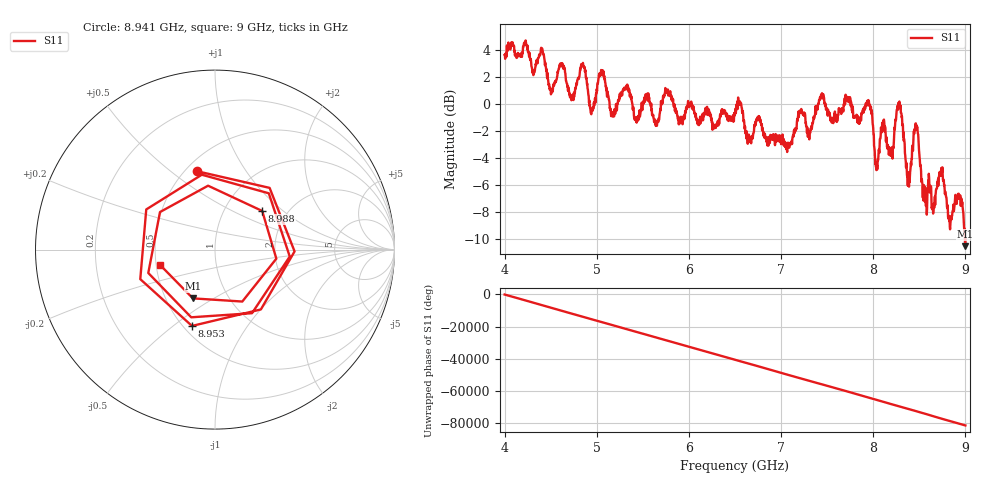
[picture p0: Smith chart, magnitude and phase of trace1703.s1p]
! Created with skrf 1.8.0 (http://scikit-rf.org).
# Hz S RI R 50.0
!freq ReS11 ImS11
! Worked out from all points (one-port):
!   1601 points, 4 GHz to 9 GHz, reference 50 ohm
!   lowest |S11| = -10.5 dB at 8.997 GHz (marker M1), VSWR 1.85, Z = 34.1 - j20.3 ohm
!   |S11| at or under -10 dB: 8.995091 GHz to 8.999936 GHz (4.845 MHz wide, 0.0538 % of centre)
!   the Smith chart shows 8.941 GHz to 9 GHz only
!   S11 on the Smith chart (normalised r, x): 8.941 GHz: 0.57, +0.62; 8.953 GHz: 0.55, -0.59; 8.988 GHz: 1.50, +0.73; 9 GHz: 0.53, -0.10
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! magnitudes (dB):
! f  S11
! 4 GHz  3.6
! 4.406 GHz  4.1
! 4.512 GHz  0.9
! 4.625 GHz  3.0
! 4.731 GHz  0.4
! 4.853 GHz  2.9
! 4.941 GHz  -0.8
! 5.05 GHz  2.4
! 5.162 GHz  -0.6
! 5.25 GHz  0.7
! 5.875 GHz  -0.9
! 6.5 GHz  -0.7
! 7.125 GHz  -2.5
! 7.75 GHz  0.4
! 7.959 GHz  0.0
! 8.041 GHz  -4.5
! 8.106 GHz  -1.7
! 8.197 GHz  -3.9
! 8.281 GHz  0.1
! 8.375 GHz  -6.0
! 8.462 GHz  -1.4
! 8.562 GHz  -7.2
! 8.734 GHz  -5.3
! 8.941 GHz  -7.0
! 8.953 GHz  -7.0
! 8.988 GHz  -9.4
! 8.997 GHz  -10.5
! 9 GHz  -10.0
